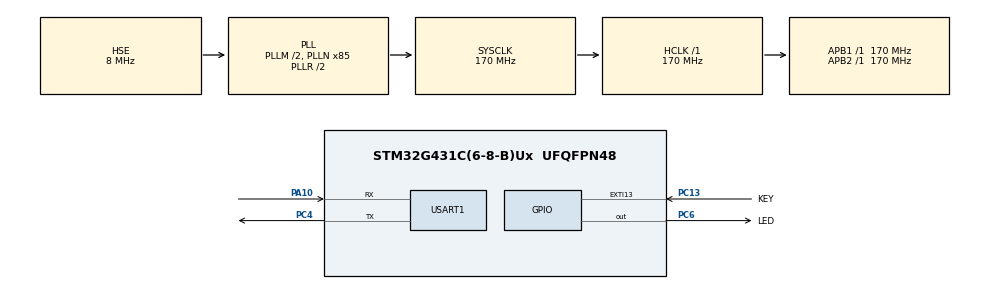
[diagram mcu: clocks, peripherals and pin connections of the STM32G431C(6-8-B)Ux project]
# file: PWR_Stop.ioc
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Mcu.Family=STM32G4
Mcu.Name=STM32G431C(6-8-B)Ux
Mcu.Package=UFQFPN48
NVIC.EXTI15_10_IRQn=true\:0\:0\:false\:false\:true\:true\:true\:true
NVIC.PriorityGroup=NVIC_PRIORITYGROUP_4
PA10.Mode=Asynchronous
PA10.Signal=USART1_RX
PA13.Mode=Trace_Asynchronous_SW
PA13.Signal=SYS_JTMS-SWDIO
PA14.Mode=Trace_Asynchronous_SW
PA14.Signal=SYS_JTCK-SWCLK
PB3.Mode=Trace_Asynchronous_SW
PB3.Signal=SYS_JTDO-SWO
PC13.GPIO_Label=KEY
PC13.GPIO_PuPd=GPIO_PULLDOWN
PC13.Signal=GPXTI13
PC4.Mode=Asynchronous
PC4.Signal=USART1_TX
PC6.GPIO_Label=LED
PC6.GPIO_ModeDefaultOutputPP=GPIO_MODE_OUTPUT_PP
PC6.GPIO_Speed=GPIO_SPEED_FREQ_LOW
PC6.PinState=GPIO_PIN_RESET
PC6.Signal=GPIO_Output
PF0-OSC_IN.Mode=HSE-External-Oscillator
PF0-OSC_IN.Signal=RCC_OSC_IN
PF1-OSC_OUT.Mode=HSE-External-Oscillator
PF1-OSC_OUT.Signal=RCC_OSC_OUT
ProjectManager.HeapSize=0x200
ProjectManager.StackSize=0x400
ProjectManager.TargetToolchain=STM32CubeIDE
RCC.ADC12Freq_Value=170000000
RCC.AHBFreq_Value=170000000
RCC.APB1Freq_Value=170000000
RCC.APB1TimFreq_Value=170000000
RCC.APB2Freq_Value=170000000
RCC.APB2TimFreq_Value=170000000
RCC.CortexFreq_Value=170000000
RCC.EXTERNAL_CLOCK_VALUE=12288000
RCC.HCLKFreq_Value=170000000
RCC.HSE_VALUE=8000000
RCC.HSI48_VALUE=48000000
RCC.HSI_VALUE=16000000
RCC.LSE_VALUE=32768
RCC.PLLM=RCC_PLLM_DIV2
RCC.PLLN=85
RCC.PLLSourceVirtual=RCC_PLLSOURCE_HSE
RCC.SYSCLKFreq_VALUE=170000000
RCC.SYSCLKSource=RCC_SYSCLKSOURCE_PLLCLK
RCC.USBFreq_Value=170000000
RCC.VCOOutputFreq_Value=340000000
USART1.VirtualMode-Asynchronous=VM_ASYNC
VP_SYS_VS_DBSignals.Mode=DisableDeadBatterySignals
VP_SYS_V_VREFBUF.Mode=ExternalMode
board=custom

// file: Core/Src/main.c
/* USER CODE BEGIN Header */
/**
  ******************************************************************************
  * @file           : main.c
  * @brief          : Main program body
  ******************************************************************************
  * @attention
  *
  * Copyright (c) 2025 STMicroelectronics.
  * All rights reserved.
  *
  * This software is licensed under terms that can be found in the LICENSE file
  * in the root directory of this software component.
  * If no LICENSE file comes with this software, it is provided AS-IS.
  *
  ******************************************************************************
  */
/* USER CODE END Header */
#include "main.h"

/* USER CODE BEGIN Includes */
#include "console.h"
/* USER CODE END Includes */

UART_HandleTypeDef huart1;

void SystemClock_Config(void);
static void MX_GPIO_Init(void);
static void MX_USART1_UART_Init(void);

/* USER CODE BEGIN 0 */

void HAL_GPIO_EXTI_Callback(uint16_t GPIO_Pin) {
	//HAL_ResumeTick();
	HAL_GPIO_WritePin(LED_GPIO_Port, LED_Pin, GPIO_PIN_SET);
	printf("\r\nEXTI Work\r\n");
	HAL_GPIO_WritePin(LED_GPIO_Port, LED_Pin, GPIO_PIN_RESET);
	//HAL_SuspendTick();
}

/* USER CODE END 0 */

int main(void)
{

  /* MCU Configuration--------------------------------------------------------*/

  /* Reset of all peripherals, Initializes the Flash interface and the Systick. */
  HAL_Init();

  /* Configure the system clock */
  SystemClock_Config();

  /* Initialize all configured peripherals */
  MX_GPIO_Init();
  MX_USART1_UART_Init();

  /* Infinite loop */
  /* USER CODE BEGIN WHILE */
  while (1)
  {

	  printf("\r\nDoing something\r\n");
	  HAL_GPIO_WritePin(LED_GPIO_Port, LED_Pin, GPIO_PIN_SET);
	  HAL_Delay(3000);
	  HAL_GPIO_WritePin(LED_GPIO_Port, LED_Pin, GPIO_PIN_RESET);

	  printf("Going into Stop Mode\r\n");
	  HAL_Delay(100);
	  HAL_SuspendTick();
	  HAL_PWR_EnterSTOPMode(PWR_MAINREGULATOR_ON, PWR_SLEEPENTRY_WFI);

	  // After exiting from Stop mode, you need to re-initialize SystemClock
	  // EXTI wakes up the controller but does not execute!
	  // EXTI will only work in working mode
	  SystemClock_Config();

	  HAL_ResumeTick();

    /* USER CODE END WHILE */

  }
}

void SystemClock_Config(void)
{
  RCC_OscInitTypeDef RCC_OscInitStruct = {0};
  RCC_ClkInitTypeDef RCC_ClkInitStruct = {0};

  /** Configure the main internal regulator output voltage
  */
  HAL_PWREx_ControlVoltageScaling(PWR_REGULATOR_VOLTAGE_SCALE1_BOOST);

  /** Initializes the RCC Oscillators according to the specified parameters
  * in the RCC_OscInitTypeDef structure.
  */
  RCC_OscInitStruct.OscillatorType = RCC_OSCILLATORTYPE_HSE;
  RCC_OscInitStruct.HSEState = RCC_HSE_ON;
  RCC_OscInitStruct.PLL.PLLState = RCC_PLL_ON;
  RCC_OscInitStruct.PLL.PLLSource = RCC_PLLSOURCE_HSE;
  RCC_OscInitStruct.PLL.PLLM = RCC_PLLM_DIV2;
  RCC_OscInitStruct.PLL.PLLN = 85;
  RCC_OscInitStruct.PLL.PLLP = RCC_PLLP_DIV2;
  RCC_OscInitStruct.PLL.PLLQ = RCC_PLLQ_DIV2;
  RCC_OscInitStruct.PLL.PLLR = RCC_PLLR_DIV2;
  if (HAL_RCC_OscConfig(&RCC_OscInitStruct) != HAL_OK)
  {
    Error_Handler();
  }

  /** Initializes the CPU, AHB and APB buses clocks
  */
  RCC_ClkInitStruct.ClockType = RCC_CLOCKTYPE_HCLK|RCC_CLOCKTYPE_SYSCLK
                              |RCC_CLOCKTYPE_PCLK1|RCC_CLOCKTYPE_PCLK2;
  RCC_ClkInitStruct.SYSCLKSource = RCC_SYSCLKSOURCE_PLLCLK;
  RCC_ClkInitStruct.AHBCLKDivider = RCC_SYSCLK_DIV1;
  RCC_ClkInitStruct.APB1CLKDivider = RCC_HCLK_DIV1;
  RCC_ClkInitStruct.APB2CLKDivider = RCC_HCLK_DIV1;

  if (HAL_RCC_ClockConfig(&RCC_ClkInitStruct, FLASH_LATENCY_4) != HAL_OK)
  {
    Error_Handler();
  }
}

static void MX_USART1_UART_Init(void)
{

  huart1.Instance = USART1;
  huart1.Init.BaudRate = 115200;
  huart1.Init.WordLength = UART_WORDLENGTH_8B;
  huart1.Init.StopBits = UART_STOPBITS_1;
  huart1.Init.Parity = UART_PARITY_NONE;
  huart1.Init.Mode = UART_MODE_TX_RX;
  huart1.Init.HwFlowCtl = UART_HWCONTROL_NONE;
  huart1.Init.OverSampling = UART_OVERSAMPLING_16;
  huart1.Init.OneBitSampling = UART_ONE_BIT_SAMPLE_DISABLE;
  huart1.Init.ClockPrescaler = UART_PRESCALER_DIV1;
  huart1.AdvancedInit.AdvFeatureInit = UART_ADVFEATURE_NO_INIT;
  if (HAL_UART_Init(&huart1) != HAL_OK)
  {
    Error_Handler();
  }
  if (HAL_UARTEx_SetTxFifoThreshold(&huart1, UART_TXFIFO_THRESHOLD_1_8) != HAL_OK)
  {
    Error_Handler();
  }
  if (HAL_UARTEx_SetRxFifoThreshold(&huart1, UART_RXFIFO_THRESHOLD_1_8) != HAL_OK)
  {
    Error_Handler();
  }
  if (HAL_UARTEx_DisableFifoMode(&huart1) != HAL_OK)
  {
    Error_Handler();
  }

}

static void MX_GPIO_Init(void)
{
  GPIO_InitTypeDef GPIO_InitStruct = {0};

  /* GPIO Ports Clock Enable */
  __HAL_RCC_GPIOC_CLK_ENABLE();
  __HAL_RCC_GPIOF_CLK_ENABLE();
  __HAL_RCC_GPIOA_CLK_ENABLE();
  __HAL_RCC_GPIOB_CLK_ENABLE();

  /*Configure GPIO pin Output Level */
  HAL_GPIO_WritePin(LED_GPIO_Port, LED_Pin, GPIO_PIN_RESET);

  /*Configure GPIO pin : KEY_Pin */
  GPIO_InitStruct.Pin = KEY_Pin;
  GPIO_InitStruct.Mode = GPIO_MODE_IT_RISING;
  GPIO_InitStruct.Pull = GPIO_PULLDOWN;
  HAL_GPIO_Init(KEY_GPIO_Port, &GPIO_InitStruct);

  /*Configure GPIO pin : LED_Pin */
  GPIO_InitStruct.Pin = LED_Pin;
  GPIO_InitStruct.Mode = GPIO_MODE_OUTPUT_PP;
  GPIO_InitStruct.Pull = GPIO_NOPULL;
  GPIO_InitStruct.Speed = GPIO_SPEED_FREQ_LOW;
  HAL_GPIO_Init(LED_GPIO_Port, &GPIO_InitStruct);

  /* EXTI interrupt init*/
  HAL_NVIC_SetPriority(EXTI15_10_IRQn, 0, 0);
  HAL_NVIC_EnableIRQ(EXTI15_10_IRQn);

}

void Error_Handler(void)
{
  __disable_irq();
  while (1)
  {
  }
}
